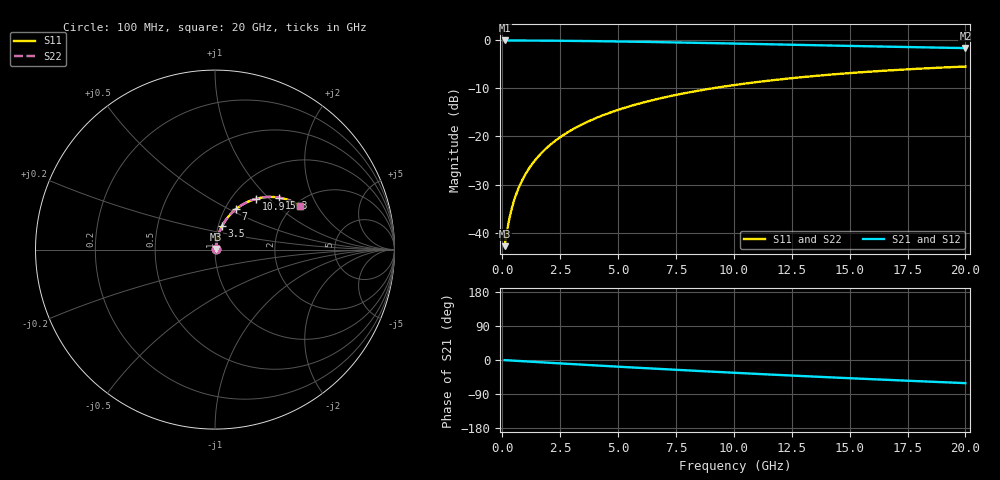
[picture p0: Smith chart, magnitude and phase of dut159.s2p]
! Touchstone file exported from HFSS 2026.1.0
!  File:  C:/ffzhzh/LocalFiles/Ansys_Project_Files/temp_train_TMRDL_159_1782983270_45328.aedt
!  Generated:  05:09:13 PM Jul  2, 2026
!  Design:  TMRDL
!  Project:  temp_train_TMRDL_159_1782983270_45328
! Variables:
!  h_bsmrdl = 2um
!  h_ox = 20um
!  h_rdl = 5um
!  h_sub = 80um
!  h_tmrdl = 5.28um
!  h_tsv = 80um
!  h_via = 3um
!  l_bsmrdl = 300um
!  l_sub = 1380.3um
!  l_tmrdl = 980.3um
!  m_sub = 200um
!  pitch = 35.05um
!  r_tsv = 6um
!  s_tmrdl = 10um
!  w_bsmrdl = 18um
!  w_sub = 500um
!  w_tmrdl = 11.06um
!  x_tsv_center1 = 985.83um
!  x_tsv_center2 = 1303.83um
!  x_tsv_center3 = 2295.19um
!  x_tsv_center4 = 2613.19um
!  x_tsv_center5 = 3604.55um
!  x_tsv_center6 = 3922.55um
# GHz S MA R 50.000000
! Terminal data exported
! Port[1] = TM_RDL1_1_T1
! Port[2] = TM_RDL1_1_T2
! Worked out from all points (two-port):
!   200 points, 100 MHz to 20 GHz, reference 50 ohm
!   highest |S21| = -0.05 dB at 100 MHz (marker M1); lowest = -1.6 dB at 20 GHz (marker M2)
!   |S21| within 3 dB of the highest: start of sweep to end of sweep
!   lowest |S11| = -42.8 dB at 100 MHz (marker M3), VSWR 1.01, Z = 50.6 + j0.417 ohm
!   |S11| at or under -10 dB: start of sweep to 9.077 GHz
!   |S22| runs from -42.8 to -5.5 dB; largest |S21 - S12| = 1e-14
!   S11 on the Smith chart (normalised r, x): 100 MHz: 1.01, +0.01; 3.5 GHz: 1.04, +0.28; 7 GHz: 1.13, +0.54; 10.9 GHz: 1.29, +0.84; 15.3 GHz: 1.59, +1.17; 20 GHz: 2.13, +1.45
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0.1  0.00723 34.8  0.9941 -0.4  0.9941 -0.4  0.00723 34.8
! Gamma 0 0 0 0
! Port Impedance 50 0 50 0
0.2  0.01024 53.1  0.9939 -0.7  0.9939 -0.7  0.01024 53.1
0.3  0.01377 62.2  0.9937 -1.1  0.9937 -1.1  0.01377 62.2
0.4  0.01748 67.3  0.9935 -1.5  0.9935 -1.5  0.01748 67.3
0.5  0.02125 70.5  0.9934 -1.8  0.9934 -1.8  0.02125 70.5
0.6  0.02506 72.6  0.9932 -2.2  0.9932 -2.2  0.02506 72.6
0.8  0.03274 75.2  0.9928 -2.9  0.9928 -2.9  0.03274 75.2
1.1  0.04433 76.9  0.9921 -4.0  0.9921 -4.0  0.04433 76.9
1.5  0.05982 77.5  0.9909 -5.4  0.9909 -5.4  0.05982 77.5
2.1  0.08292 76.9  0.9886 -7.6  0.9886 -7.6  0.08292 76.9
2.7  0.1057 75.6  0.9858 -9.7  0.9858 -9.7  0.1057 75.6
3.5  0.1354 73.4  0.9811 -12.5  0.9811 -12.5  0.1354 73.4
5  0.1887 68.8  0.9703 -17.6  0.9703 -17.6  0.1887 68.8
6.8  0.2482 63.2  0.9548 -23.6  0.9548 -23.6  0.2482 63.2
7  0.2545 62.5  0.953 -24.3  0.953 -24.3  0.2545 62.6
8.5  0.2998 58.0  0.9386 -29.1  0.9386 -29.1  0.2998 58.0
10.1  0.3442 53.3  0.9224 -34.0  0.9224 -34.0  0.3441 53.3
10.9  0.3648 50.9  0.9142 -36.4  0.9142 -36.4  0.3648 51.0
13.4  0.423 44.0  0.8884 -43.7  0.8884 -43.7  0.423 44.0
15.3  0.4609 38.9  0.8694 -48.9  0.8694 -48.9  0.4608 38.9
16.7  0.4854 35.3  0.8561 -52.6  0.8561 -52.6  0.4853 35.3
20  0.5327 27.1  0.8281 -61.0  0.8281 -61.0  0.5327 27.2
